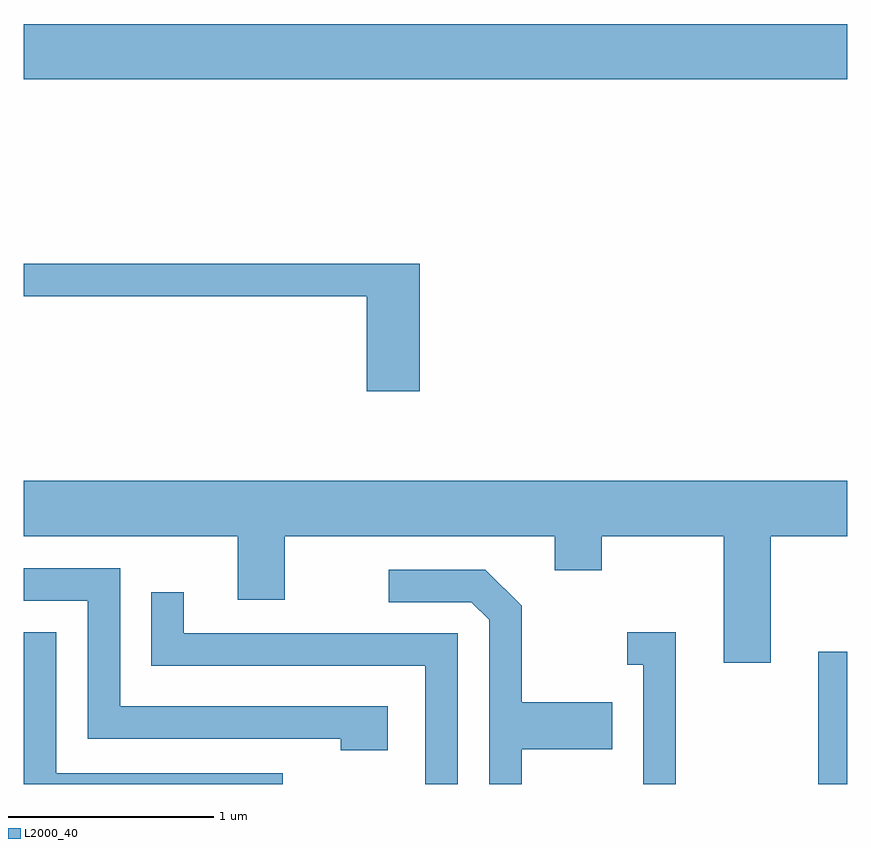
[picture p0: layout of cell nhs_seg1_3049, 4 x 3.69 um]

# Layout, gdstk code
import gdstk
lib = gdstk.Library(unit=1e-6, precision=1e-09)
def R(c, l, rs):  # rectangles x0, y0, x1, y1
    for r in rs: c.add(gdstk.rectangle(r[:2], r[2:], *l))
def P(c, l, *ps):  # polygons
    for p in ps: c.add(gdstk.Polygon(p, *l))
L2000_40 = (2000, 40)

nhs_seg1_3049 = lib.new_cell('nhs_seg1_3049')
R(nhs_seg1_3049, L2000_40, [(281.471,891.712,281.611,892.354), (277.611,895.136,281.611,895.404)])
P(nhs_seg1_3049, L2000_40, [(279.534,894.239),(277.611,894.239),(277.611,894.081),(279.276,894.081),(279.276,893.621),(279.534,893.621)],
  [(281.239,892.916),(281.611,892.916),(281.611,893.184),(277.611,893.184),(277.611,892.916),(278.651,892.916),(278.651,892.606),(278.879,892.606),(278.879,892.916),(280.191,892.916),(280.191,892.751),(280.419,892.751),(280.419,892.916),(281.011,892.916),(281.011,892.301),(281.239,892.301)],
  [(279.379,892.089),(278.079,892.089),(278.079,892.759),(277.611,892.759),(277.611,892.601),(277.921,892.601),(277.921,891.931),(279.151,891.931),(279.151,891.876),(279.379,891.876)],
  [(280.029,891.881),(280.469,891.881),(280.469,892.109),(280.029,892.109),(280.029,892.577),(279.852,892.754),(279.383,892.754),(279.383,892.596),(279.784,892.596),(279.871,892.509),(279.871,891.712),(280.029,891.712)],
  [(279.719,892.444),(278.389,892.444),(278.389,892.643),(278.231,892.643),(278.231,892.286),(279.561,892.286),(279.561,891.712),(279.719,891.712)],
  [(278.868,891.764),(277.769,891.764),(277.769,892.449),(277.611,892.449),(277.611,891.712),(278.868,891.712)],
  [(280.779,892.449),(280.543,892.449),(280.543,892.291),(280.621,892.291),(280.621,891.712),(280.779,891.712)])

lib.write_gds('nhs_seg1_3049.gds')
